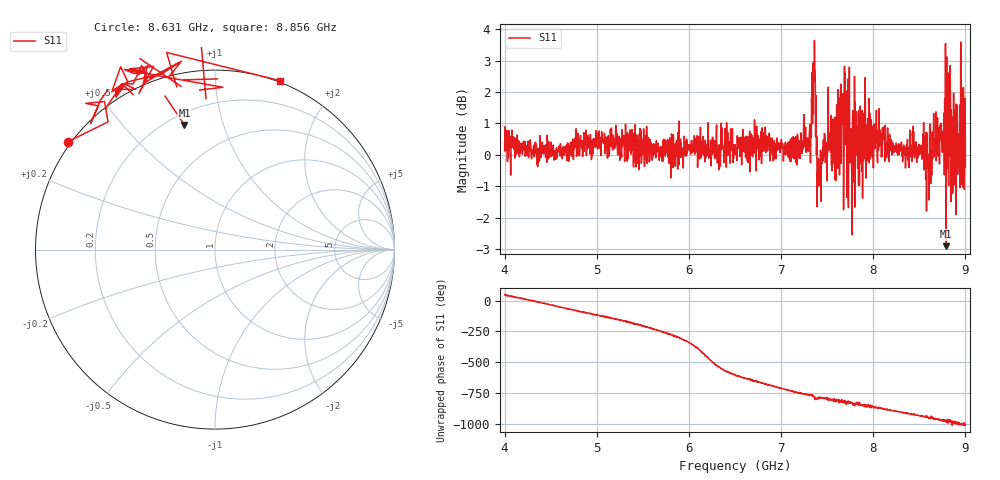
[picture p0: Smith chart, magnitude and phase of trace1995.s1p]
! Created with skrf 1.8.0 (http://scikit-rf.org).
# Hz S RI R 50.0
!freq ReS11 ImS11
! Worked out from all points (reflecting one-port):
!   1601 points, 4 GHz to 9 GHz, reference 50 ohm
!   lowest |S11| = -2.9 dB at 8.791 GHz (marker M1), VSWR 6.02, Z = 13.2 + j37.5 ohm
!   phase of S11 starts at 50 deg and turns -1057 deg over the sweep
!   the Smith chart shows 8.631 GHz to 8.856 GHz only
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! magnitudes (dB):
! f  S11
! 4 GHz  0.1
! 4.625 GHz  -0.1
! 5.25 GHz  -0.2
! 5.875 GHz  0.2
! 6.412 GHz  0.5
! 6.5 GHz  0.0
! 6.728 GHz  0.9
! 7.125 GHz  0.2
! 7.297 GHz  0.1
! 7.356 GHz  2.8
! 7.4 GHz  -0.1
! 7.416 GHz  -0.5
! 7.494 GHz  0.3
! 7.609 GHz  0.4
! 7.65 GHz  1.7
! 7.719 GHz  0.5
! 7.75 GHz  -0.3
! 7.769 GHz  -0.2
! 7.8 GHz  -1.7
! 7.962 GHz  1.3
! 8.375 GHz  -0.2
! 8.541 GHz  0.7
! 8.603 GHz  0.0
! 8.675 GHz  0.1
! 8.791 GHz  -2.9
! 8.875 GHz  0.4
! 8.972 GHz  -0.3
! 9 GHz  -0.4
